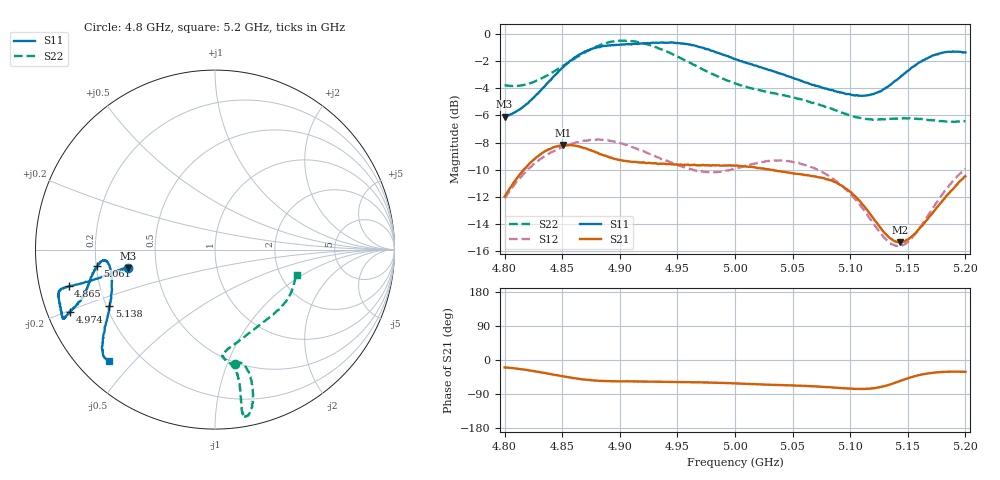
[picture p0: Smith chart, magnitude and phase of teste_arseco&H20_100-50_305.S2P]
! Network Analyzer HP8722D
! Hewlett-Packard
! Data name: Linha & Wilkinson
! Saver's name: Rodrigo Anjos
! Comments: Teste da utilização de aquisição
! continua pelo VNA HP8722D
! Time and date: 6/5/2025 15:06
!  Frequency  S11  S21  S12  S22
# HZ  S  MA R 50
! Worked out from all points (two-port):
!   401 points, 4.8 GHz to 5.2 GHz, reference 50 ohm
!   highest |S21| = -8.17 dB at 4.851 GHz (marker M1); lowest = -15.3 dB at 5.143 GHz (marker M2)
!   |S21| within 3 dB of the highest: 4.806 GHz to 5.093 GHz (286.6 MHz wide, 5.79 % of centre); 5.191635 GHz to end of sweep
!   lowest |S11| = -6.1 dB at 4.8 GHz (marker M3), VSWR 2.97, Z = 17 - j4.59 ohm
!   |S11| at or under -10 dB: nowhere
!   |S22| runs from -6.5 to -0.5 dB; largest |S21 - S12| = 0.62
!   S11 on the Smith chart (normalised r, x): 4.8 GHz: 0.34, -0.09; 4.865 GHz: 0.09, -0.12; 4.974 GHz: 0.07, -0.20; 5.061 GHz: 0.20, -0.07; 5.138 GHz: 0.21, -0.24; 5.2 GHz: 0.09, -0.43
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4.8e9  0.4966 -168.2  0.2523 -19.7  0.2485 -140.8  0.6487 -80.4
4.824e9  0.5775 -167.5  0.3409 -28.6  0.328 -144.0  0.6624 -75.9
4.851e9  0.756 -165.8  0.3904 -43.2  0.3845 -149.2  0.7647 -74.6
4.865e9  0.8402 -166.0  0.3853 -49.8  0.401 -151.7  0.833 -75.2
4.867e9  0.8477 -165.9  0.3833 -50.8  0.4028 -152.0  0.8441 -75.5
4.898e9  0.9106 -162.9  0.3452 -56.2  0.3988 -156.3  0.9425 -78.9
4.913e9  0.9206 -159.7  0.3383 -56.6  0.381 -157.0  0.9382 -80.1
4.934e9  0.9279 -156.4  0.3326 -57.5  0.3509 -155.6  0.8831 -80.5
4.953e9  0.9218 -155.5  0.3311 -58.2  0.3262 -152.0  0.8145 -79.9
4.974e9  0.8803 -156.8  0.3284 -59.2  0.3114 -145.5  0.7333 -79.7
5e9  0.8081 -159.0  0.3276 -61.7  0.3196 -137.2  0.6574 -81.3
5.036e9  0.7231 -165.6  0.3137 -66.0  0.3417 -134.4  0.6021 -85.7
5.061e9  0.6629 -172.0  0.303 -68.3  0.3295 -136.3  0.5692 -84.0
5.067e9  0.6497 -173.0  0.3002 -69.1  0.323 -136.7  0.5575 -82.6
5.085e9  0.621 -174.3  0.2872 -72.6  0.2937 -138.3  0.5296 -75.8
5.103e9  0.5952 -171.6  0.2554 -76.0  0.2505 -138.6  0.4965 -65.4
5.134e9  0.6461 -154.3  0.1782 -65.2  0.1705 -120.7  0.4876 -43.3
5.138e9  0.6668 -151.9  0.1736 -61.2  0.1674 -115.5  0.4872 -40.8
5.143e9  0.6904 -149.3  0.1713 -55.8  0.1661 -108.9  0.4885 -38.0
5.154e9  0.7555 -144.4  0.1809 -44.5  0.1788 -95.0  0.4887 -32.5
5.172e9  0.8337 -139.1  0.2213 -33.6  0.2294 -81.0  0.4812 -24.6
5.2e9  0.8542 -133.5  0.2999 -31.4  0.3189 -76.8  0.4772 -17.5
